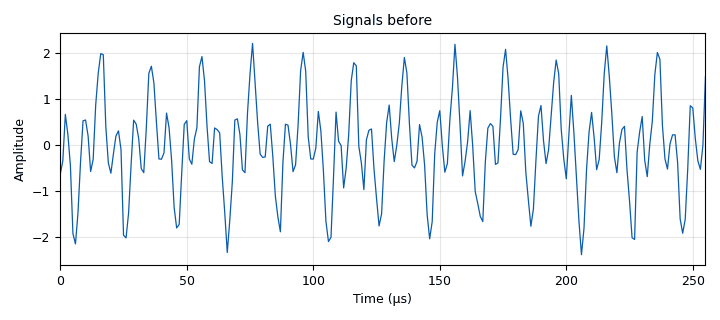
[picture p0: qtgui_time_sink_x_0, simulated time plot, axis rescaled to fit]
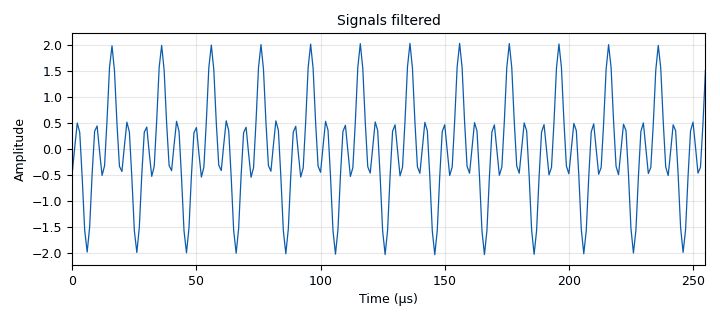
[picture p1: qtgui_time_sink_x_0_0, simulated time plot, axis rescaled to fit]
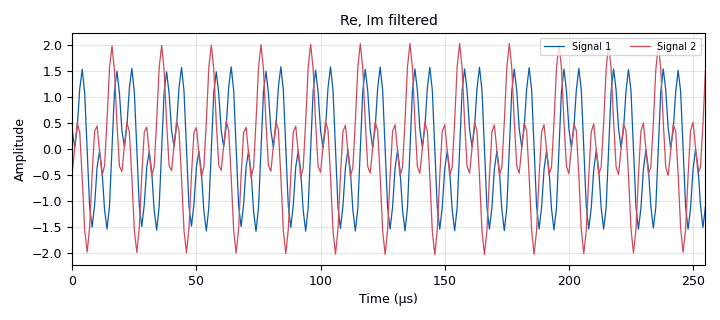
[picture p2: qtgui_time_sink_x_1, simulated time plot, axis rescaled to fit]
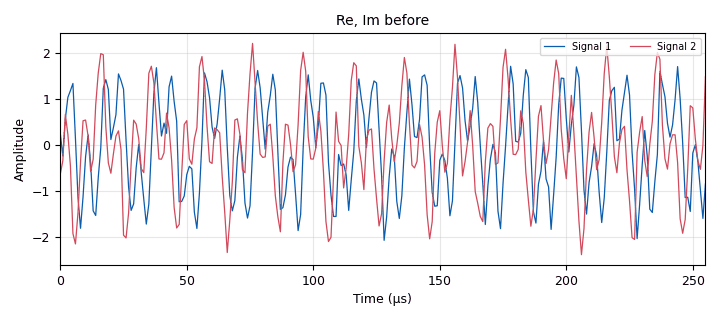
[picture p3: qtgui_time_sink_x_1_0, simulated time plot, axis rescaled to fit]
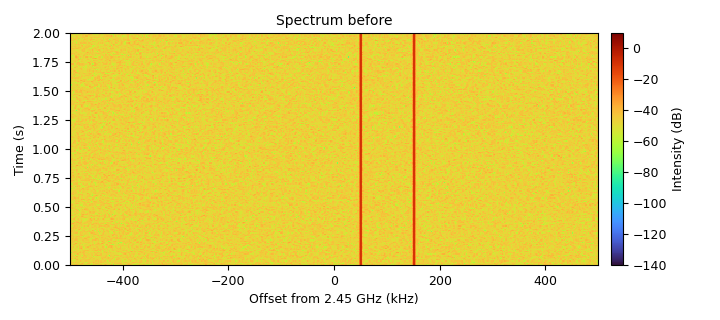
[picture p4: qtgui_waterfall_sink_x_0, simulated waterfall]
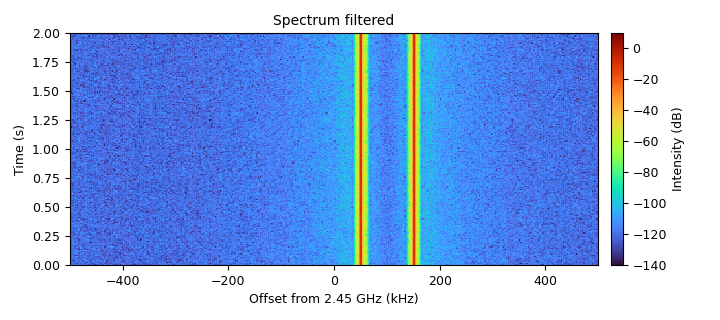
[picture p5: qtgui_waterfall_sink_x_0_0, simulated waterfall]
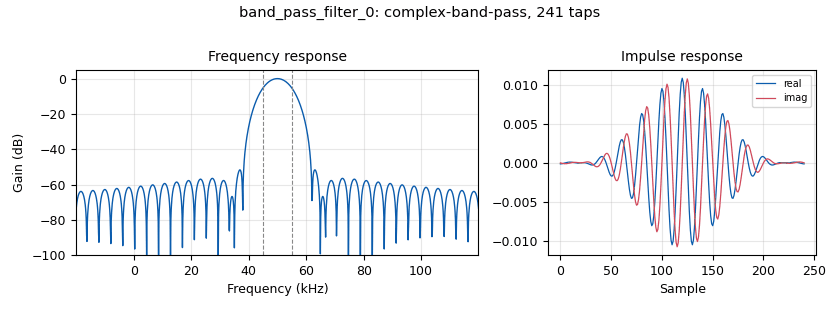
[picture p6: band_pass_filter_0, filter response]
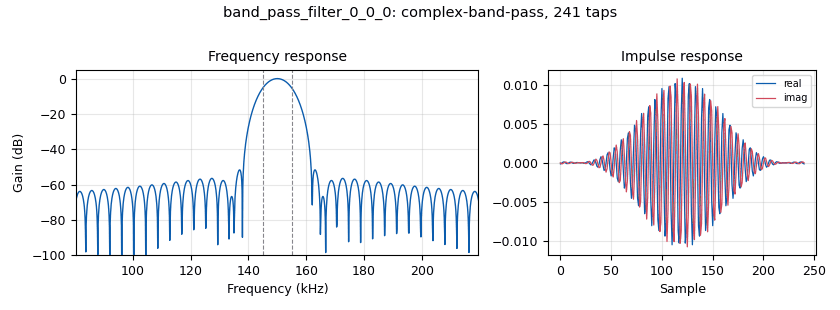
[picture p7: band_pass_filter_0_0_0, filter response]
options:
  parameters:
    generate_options: qt_gui
    id: run_sum_of_signals_spectrum
    output_language: python
    title: Sum of signals spectrum
  states: {}

blocks:
- name: center_frequency
  id: variable
  parameters:
    value: '2.45e+9'
  states: {}
- name: samp_rate
  id: variable
  parameters:
    value: int(1.0E+6)
  states: {}
- name: analog_noise_source_x_0
  id: analog_noise_source_x
  parameters:
    amp: '0.3'
    noise_type: analog.GR_GAUSSIAN
    seed: '0'
    type: complex
  states: {}
- name: analog_sig_source_x_0
  id: analog_sig_source_x
  parameters:
    amp: '1'
    freq: '50e+3'
    offset: '0'
    phase: '0'
    samp_rate: samp_rate
    type: complex
    waveform: analog.GR_SIN_WAVE
  states: {}
- name: analog_sig_source_x_0_1
  id: analog_sig_source_x
  parameters:
    amp: '1'
    freq: '150e+3'
    offset: '0'
    phase: '0'
    samp_rate: samp_rate
    type: complex
    waveform: analog.GR_SIN_WAVE
  states: {}
- name: band_pass_filter_0
  id: band_pass_filter
  parameters:
    decim: '1'
    gain: '1'
    high_cutoff_freq: 55e3
    low_cutoff_freq: 45e3
    samp_rate: samp_rate
    type: fir_filter_ccc
    width: 10e3
    win: firdes.WIN_HAMMING
  states: {}
- name: band_pass_filter_0_0_0
  id: band_pass_filter
  parameters:
    decim: '1'
    gain: '1'
    high_cutoff_freq: 155e3
    low_cutoff_freq: 145e3
    samp_rate: samp_rate
    type: fir_filter_ccc
    width: 10e3
    win: firdes.WIN_HAMMING
  states: {}
- name: blocks_add_xx_0
  id: blocks_add_xx
  parameters:
    num_inputs: '3'
    type: complex
  states: {}
- name: blocks_add_xx_1
  id: blocks_add_xx
  parameters:
    type: complex
  states: {}
- name: blocks_complex_to_imag_0
  id: blocks_complex_to_imag
  parameters: {}
  states: {}
- name: blocks_complex_to_imag_0_0
  id: blocks_complex_to_imag
  parameters: {}
  states: {}
- name: blocks_complex_to_real_0
  id: blocks_complex_to_real
  parameters: {}
  states: {}
- name: blocks_complex_to_real_0_0
  id: blocks_complex_to_real
  parameters: {}
  states: {}
- name: blocks_complex_to_real_1
  id: blocks_complex_to_real
  parameters: {}
  states: {}
- name: blocks_complex_to_real_1_0
  id: blocks_complex_to_real
  parameters: {}
  states: {}
- name: blocks_throttle_0
  id: blocks_throttle
  parameters:
    samples_per_second: samp_rate
    type: complex
  states: {}
- name: qtgui_tab_widget_0
  id: qtgui_tab_widget
  parameters:
    label0: Tab 0
    num_tabs: '1'
  states: {}
- name: qtgui_time_sink_x_0
  id: qtgui_time_sink_x
  parameters:
    grid: 'True'
    gui_hint: qtgui_tab_widget_0:1,0,1,1
    name: '"Signals before"'
    size: '256'
    srate: samp_rate
    type: float
    ymax: '0.3'
    ymin: '-0.3'
  states: {}
- name: qtgui_time_sink_x_0_0
  id: qtgui_time_sink_x
  parameters:
    grid: 'True'
    gui_hint: qtgui_tab_widget_0:1,1,1,1
    name: '"Signals filtered"'
    size: '256'
    srate: samp_rate
    type: float
    ymax: '0.3'
    ymin: '-0.3'
  states: {}
- name: qtgui_time_sink_x_1
  id: qtgui_time_sink_x
  parameters:
    grid: 'True'
    gui_hint: qtgui_tab_widget_0:2,1,1,1
    name: '"Re, Im filtered"'
    nconnections: '2'
    size: '256'
    srate: samp_rate
    type: float
  states: {}
- name: qtgui_time_sink_x_1_0
  id: qtgui_time_sink_x
  parameters:
    grid: 'True'
    gui_hint: qtgui_tab_widget_0:2,0,1,1
    name: '"Re, Im before"'
    nconnections: '2'
    size: '256'
    srate: samp_rate
    type: float
  states: {}
- name: qtgui_waterfall_sink_x_0
  id: qtgui_waterfall_sink_x
  parameters:
    bw: samp_rate
    fc: center_frequency
    fftsize: '1024'
    gui_hint: qtgui_tab_widget_0:0,0,1,1
    name: '"Spectrum before"'
    type: complex
    wintype: firdes.WIN_BLACKMAN_hARRIS
  states: {}
- name: qtgui_waterfall_sink_x_0_0
  id: qtgui_waterfall_sink_x
  parameters:
    bw: samp_rate
    fc: center_frequency
    fftsize: '1024'
    gui_hint: qtgui_tab_widget_0:0,1,1,1
    name: '"Spectrum filtered"'
    type: complex
    wintype: firdes.WIN_BLACKMAN_hARRIS
  states: {}

connections:
- [analog_noise_source_x_0, '0', blocks_add_xx_0, '2']
- [analog_sig_source_x_0, '0', blocks_add_xx_0, '1']
- [analog_sig_source_x_0_1, '0', blocks_add_xx_0, '0']
- [band_pass_filter_0, '0', blocks_add_xx_1, '1']
- [band_pass_filter_0_0_0, '0', blocks_add_xx_1, '0']
- [blocks_add_xx_0, '0', blocks_throttle_0, '0']
- [blocks_add_xx_1, '0', blocks_complex_to_imag_0, '0']
- [blocks_add_xx_1, '0', blocks_complex_to_real_0_0, '0']
- [blocks_add_xx_1, '0', blocks_complex_to_real_1, '0']
- [blocks_add_xx_1, '0', qtgui_waterfall_sink_x_0_0, '0']
- [blocks_complex_to_imag_0, '0', qtgui_time_sink_x_1, '0']
- [blocks_complex_to_imag_0_0, '0', qtgui_time_sink_x_1_0, '0']
- [blocks_complex_to_real_0, '0', qtgui_time_sink_x_0, '0']
- [blocks_complex_to_real_0_0, '0', qtgui_time_sink_x_0_0, '0']
- [blocks_complex_to_real_1, '0', qtgui_time_sink_x_1, '1']
- [blocks_complex_to_real_1_0, '0', qtgui_time_sink_x_1_0, '1']
- [blocks_throttle_0, '0', band_pass_filter_0, '0']
- [blocks_throttle_0, '0', band_pass_filter_0_0_0, '0']
- [blocks_throttle_0, '0', blocks_complex_to_imag_0_0, '0']
- [blocks_throttle_0, '0', blocks_complex_to_real_0, '0']
- [blocks_throttle_0, '0', blocks_complex_to_real_1_0, '0']
- [blocks_throttle_0, '0', qtgui_waterfall_sink_x_0, '0']

metadata:
  file_format: 1
